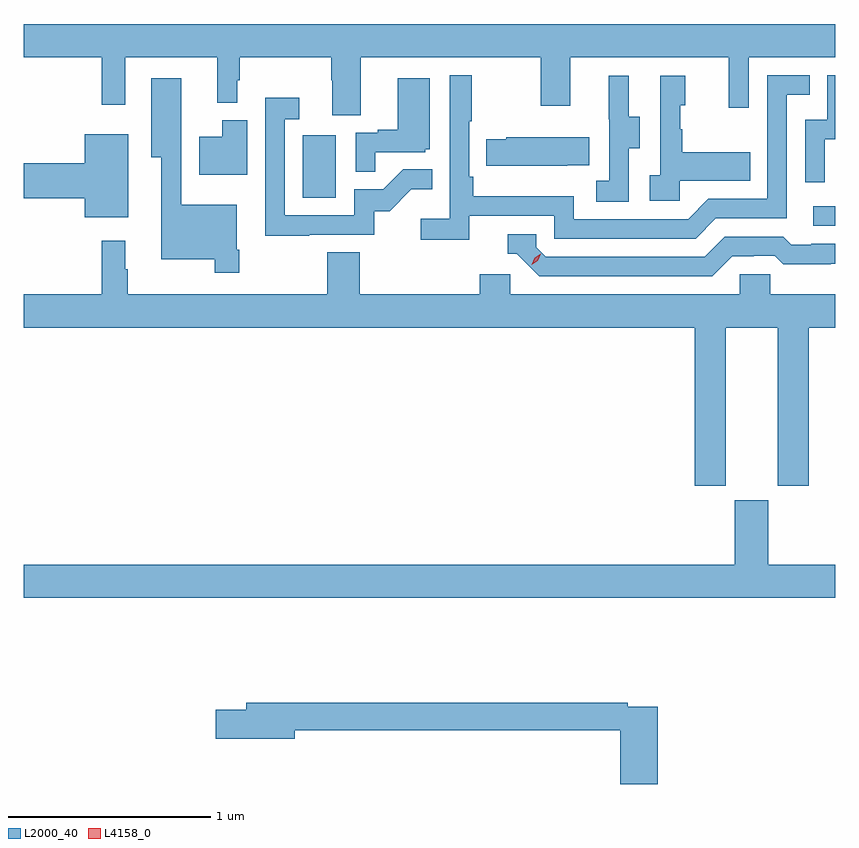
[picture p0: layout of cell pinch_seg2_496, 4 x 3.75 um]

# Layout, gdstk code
import gdstk
lib = gdstk.Library(unit=1e-6, precision=1e-09)
def R(c, l, rs):  # rectangles x0, y0, x1, y1
    for r in rs: c.add(gdstk.rectangle(r[:2], r[2:], *l))
def P(c, l, *ps):  # polygons
    for p in ps: c.add(gdstk.Polygon(p, *l))
L2000_40 = (2000, 40)
L4158_0 = (4158, 0)

pinch_seg2_496 = lib.new_cell('pinch_seg2_496')
R(pinch_seg2_496, L2000_40, [(967.479,589.53,967.589,589.626), (964.964,589.668,965.128,589.975)])
P(pinch_seg2_496, L2000_40, [(965.251,590.36),(966.136,590.36),(966.136,590.121),(966.283,590.121),(966.283,590.36),(967.064,590.36),(967.064,590.112),(967.161,590.112),(967.161,590.36),(967.589,590.36),(967.589,590.524),(963.589,590.524),(963.589,590.36),(963.973,590.36),(963.973,590.127),(964.089,590.127),(964.089,590.36),(964.544,590.36),(964.544,590.135),(964.642,590.135),(964.642,590.248),(964.654,590.248),(964.654,590.36),(965.104,590.36),(965.104,590.248),(965.111,590.248),(965.111,590.074),(965.251,590.074)],
  [(965.786,589.578),(966.204,589.578),(966.204,589.467),(966.901,589.467),(967,589.566),(967.35,589.566),(967.35,590.175),(967.463,590.175),(967.463,590.271),(967.254,590.271),(967.254,589.662),(966.963,589.662),(966.864,589.563),(966.3,589.563),(966.3,589.675),(965.804,589.675),(965.804,589.771),(965.784,589.771),(965.784,590.044),(965.797,590.044),(965.797,590.272),(965.688,590.272),(965.688,589.564),(965.547,589.564),(965.547,589.462),(965.786,589.462)],
  [(967.536,589.955),(967.589,589.955),(967.589,590.271),(967.548,590.271),(967.548,590.052),(967.44,590.052),(967.44,589.743),(967.536,589.743)],
  [(966.822,589.751),(967.169,589.751),(967.169,589.891),(966.835,589.891),(966.835,590.006),(966.825,590.006),(966.825,590.124),(966.85,590.124),(966.85,590.269),(966.726,590.269),(966.726,589.778),(966.675,589.778),(966.675,589.653),(966.822,589.653)],
  [(966.57,589.912),(966.625,589.912),(966.625,590.067),(966.571,590.067),(966.571,590.269),(966.473,590.269),(966.473,590.055),(966.474,590.055),(966.474,589.751),(966.411,589.751),(966.411,589.648),(966.57,589.648)],
  [(964.651,589.411),(964.638,589.411),(964.638,589.633),(964.366,589.633),(964.366,590.257),(964.217,590.257),(964.217,589.868),(964.268,589.868),(964.268,589.364),(964.53,589.364),(964.53,589.299),(964.651,589.299)],
  [(965.321,589.893),(965.568,589.893),(965.568,589.908),(965.59,589.908),(965.59,590.257),(965.432,590.257),(965.432,590.002),(965.333,590.002),(965.333,589.989),(965.226,589.989),(965.226,589.795),(965.321,589.795)],
  [(964.997,589.485),(965.316,589.485),(965.316,589.602),(965.392,589.602),(965.499,589.709),(965.603,589.709),(965.603,589.808),(965.459,589.808),(965.361,589.71),(965.217,589.71),(965.217,589.581),(964.875,589.581),(964.875,590.055),(964.948,590.055),(964.948,590.161),(964.779,590.161),(964.779,589.48),(964.997,589.48)],
  [(964.69,590.05),(964.568,590.05),(964.568,589.969),(964.454,589.969),(964.454,589.781),(964.69,589.781)],
  [(964.105,589.981),(963.89,589.981),(963.89,589.838),(963.589,589.838),(963.589,589.666),(963.89,589.666),(963.89,589.571),(964.105,589.571)],
  [(966.269,589.829),(966.377,589.829),(966.377,589.966),(965.967,589.966),(965.967,589.956),(965.869,589.956),(965.869,589.826),(966.269,589.826)],
  [(967.081,589.38),(967.188,589.38),(967.188,589.383),(967.291,589.383),(967.333,589.341),(967.566,589.341),(967.566,589.343),(967.589,589.343),(967.589,589.44),(967.471,589.44),(967.471,589.437),(967.372,589.437),(967.333,589.476),(967.044,589.476),(966.945,589.377),(966.162,589.377),(966.114,589.425),(966.114,589.488),(965.975,589.488),(965.975,589.392),(966.018,589.392),(966.129,589.281),(966.982,589.281)],
  [(967.048,589.028),(967.304,589.028),(967.304,588.249),(967.457,588.249),(967.457,589.028),(967.589,589.028),(967.589,589.192),(967.269,589.192),(967.269,589.29),(967.119,589.29),(967.119,589.192),(965.988,589.192),(965.988,589.29),(965.837,589.29),(965.837,589.192),(965.246,589.192),(965.246,589.4),(965.086,589.4),(965.086,589.192),(964.102,589.192),(964.102,589.316),(964.09,589.316),(964.09,589.456),(963.973,589.456),(963.973,589.192),(963.589,589.192),(963.589,589.028),(966.896,589.028),(966.896,588.249),(967.048,588.249)],
  [(967.589,587.86),(967.258,587.86),(967.258,588.177),(967.094,588.177),(967.094,587.86),(963.589,587.86),(963.589,587.696),(967.589,587.696)],
  [(966.713,587.16),(966.566,587.16),(966.566,587.18),(964.685,587.18),(964.685,587.144),(964.536,587.144),(964.536,587.002),(964.924,587.002),(964.924,587.044),(966.53,587.044),(966.53,586.779),(966.713,586.779)])
P(pinch_seg2_496, L4158_0, [(966.092,589.338),(966.092,589.338),(966.107,589.371),(966.138,589.391),(966.138,589.391),(966.138,589.391),(966.122,589.358),(966.092,589.338)])

lib.write_gds('pinch_seg2_496.gds')
